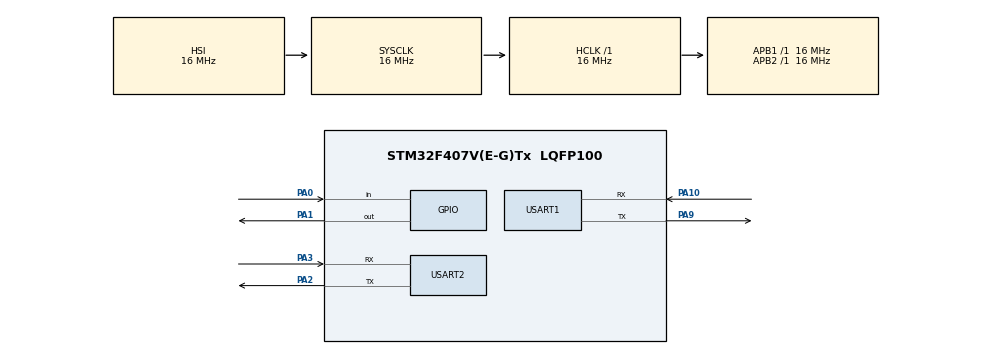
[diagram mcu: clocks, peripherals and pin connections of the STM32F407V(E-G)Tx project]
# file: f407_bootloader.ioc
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Mcu.Family=STM32F4
Mcu.Name=STM32F407V(E-G)Tx
Mcu.Package=LQFP100
NVIC.PriorityGroup=NVIC_PRIORITYGROUP_4
PA0-WKUP.GPIO_PuPd=GPIO_PULLDOWN
PA0-WKUP.Signal=GPIO_Input
PA1.PinState=GPIO_PIN_SET
PA1.Signal=GPIO_Output
PA10.Mode=Asynchronous
PA10.Signal=USART1_RX
PA13.Mode=Serial_Wire
PA13.Signal=SYS_JTMS-SWDIO
PA14.Mode=Serial_Wire
PA14.Signal=SYS_JTCK-SWCLK
PA2.Mode=Asynchronous
PA2.Signal=USART2_TX
PA3.Mode=Asynchronous
PA3.Signal=USART2_RX
PA9.Mode=Asynchronous
PA9.Signal=USART1_TX
ProjectManager.HeapSize=0x200
ProjectManager.StackSize=0x400
ProjectManager.TargetToolchain=STM32CubeIDE
RCC.48MHZClocksFreq_Value=42000000
RCC.AHBFreq_Value=16000000
RCC.APB1Freq_Value=16000000
RCC.APB1TimFreq_Value=16000000
RCC.APB2Freq_Value=16000000
RCC.APB2TimFreq_Value=16000000
RCC.CortexFreq_Value=16000000
RCC.HCLKFreq_Value=16000000
RCC.HSE_VALUE=25000000
RCC.HSI_VALUE=16000000
RCC.LSE_VALUE=32768
RCC.PLLN=168
RCC.SYSCLKFreq_VALUE=16000000
RCC.VCOOutputFreq_Value=168000000
USART1.VirtualMode=VM_ASYNC
USART2.VirtualMode=VM_ASYNC
VP_CRC_VS_CRC.Mode=CRC_Activate
board=custom

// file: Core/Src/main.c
/* USER CODE BEGIN Header */
// Demonstrating  bootloader project suitable for bootloader + application
// Flash Sector 0 and 1 allocated to bootloader (starting at 0x8000000, total 32kBytes)
// User application is loaded at start of Flash Sector 2 (0x08008000)
// 1. In user application project,
// a. Edit  STM32F407VGTX_FLASH.ld, and change FLASH ORIGIN to 0x8008000
// and reduce LENGTH by 32K to 992K
//
// MEMORY
// {
//   CCMRAM    (xrw)    : ORIGIN = 0x10000000,   LENGTH = 64K
//   RAM    (xrw)    : ORIGIN = 0x20000000,   LENGTH = 128K
//   FLASH    (rx)    : ORIGIN = 0x8008000,   LENGTH = 992K
// }
//
// b. Edit  system_stm32f4xx.c, set the vector table offset to 0x8000
//
// #define VECT_TAB_OFFSET  0x8000
//
// 2. Use STM32CubeProgrammer with STLink to erase all of flash
// 3. Use STM32CubeIDE to flash the user application project
// 4. Verify with STM32CubeProgrammer that addresses below 0x8008000 are still erased
// 5. Use STM32CubeIDE to flash this bootloader project
//
/* USER CODE END Header */

#include "main.h"

CRC_HandleTypeDef hcrc;

UART_HandleTypeDef huart1;
UART_HandleTypeDef huart2;

void SystemClock_Config(void);
static void MX_GPIO_Init(void);
static void MX_USART1_UART_Init(void);
static void MX_USART2_UART_Init(void);
static void MX_CRC_Init(void);

/* USER CODE BEGIN 0 */

// version 1.0 encoded as 0x10

#define BLDR_VERSION 0x10

// user application starts at Sector 2, sector 0 and 1 are 16kBytes each
#define FLASH_SECTOR2_BASE_ADDRESS 0x08008000

#define DBG_UART 	huart1
#define BLDR_UART 	huart2

#define BLDR_FAILURE 0
#define BLDR_SUCCESS 1

#define BLDR_ACK 	0xA5
#define BLDR_NACK	0x7F

#define BL_GET_VER 				0x51
#define BL_GET_HELP				0x52
#define BL_GET_CID				0x53
#define BL_GET_RDP_STATUS		0x54
#define BL_GOTO_ADDR			0x55
#define BL_FLASH_ERASE			0x56
#define BL_MEM_WRITE			0x57
#define BL_EN_RW_PROTECT		0x58
#define BL_MEM_READ				0x59
#define BL_READ_SECTOR_PSTATUS	0x5A
#define BL_OTP_READ			 	0x5B
#define BL_DISABLE_RWPROTECT	0x5C

#define ADDR_VALID 			0x00
#define ADDR_INVALID 		0x01

#define INVALID_SECTOR 		0x04

// STM32F407VGT6
// note 64K of CCM RAM is only for data, so we can't jump there
#define SRAM1_SIZE          112*1024
#define SRAM1_END           (SRAM1_BASE + SRAM1_SIZE)
#define SRAM2_SIZE          16*1024
#define SRAM2_END           (SRAM2_BASE + SRAM2_SIZE)
#define FLASH_SIZE          1024*1024
#define BKPSRAM_SIZE        4*1024
#define BKPSRAM_END         (BKPSRAM_BASE + BKPSRAM_SIZE)

void bldr_CmdGetVersion(uint8_t* pBuf);
void bldr_CmdGetHelp(uint8_t* pBuf);
void bldr_CmdGetCID(uint8_t* pBuf);
void bldr_CmdGetRDPStatus(uint8_t* pBuf);
void bldr_CmdGotoAddress(uint8_t* pBuf);
void bldr_CmdFlashErase(uint8_t* pBuf);
void bldr_CmdMemWrite(uint8_t* pBuf);
void bldr_CmdMemRead(uint8_t* pBuf);
void bldr_CmdReadSectorPStatus(uint8_t* pBuf);
void bldr_CmdEnRWProtect(uint8_t* pBuf);
void bldr_CmdReadOTP(uint8_t* pBuf);
void bldr_CmdDisableRWProtect(uint8_t* pBuf);

void bldr_SendACK(uint8_t cmd, uint8_t followLength);
void bldr_SendNACK(void);
int  bldr_CheckCRC(uint8_t* pBuf, uint32_t numBytes, uint32_t crcHost);
void bldr_UartWriteData(uint8_t* pBuf, int numBytes);
uint8_t bldr_VerifyAddress(uint32_t go_address);
uint8_t bldr_FlashEraseSectors(uint8_t sectorIndex , uint8_t numSectors);
uint8_t bldr_MemWrite(uint8_t *pBuffer, uint32_t address, uint32_t length);
uint16_t bldr_ReadOBRWProtectionStatus(void);
uint8_t bldr_ConfigureSectorRWProtection(uint8_t sectorDetails, uint8_t protectionMode, uint8_t disable);

void bldr_HandleCommand(void);
void bldr_JumpUserApp(uint32_t address);

void printMsg(char* format, ...) {
	char sz[100];
	va_list args;
	va_start(args, format);
	vsprintf(sz, format, args);
	HAL_UART_Transmit(&DBG_UART, (uint8_t *)sz, strlen(sz), HAL_MAX_DELAY);
	va_end(args);
	}

uint8_t BldrRxBuffer[200];

uint8_t BldrSupportedCommands[] = {
BL_GET_VER,
BL_GET_HELP,
BL_GET_CID,
BL_GET_RDP_STATUS,
BL_GOTO_ADDR,
BL_FLASH_ERASE,
BL_MEM_WRITE,
BL_EN_RW_PROTECT,
BL_MEM_READ,
BL_READ_SECTOR_PSTATUS,
BL_OTP_READ,
BL_DISABLE_RWPROTECT
};

/* USER CODE END 0 */

int main(void)
{

  /* MCU Configuration--------------------------------------------------------*/

  /* Reset of all peripherals, Initializes the Flash interface and the Systick. */
  HAL_Init();

  /* Configure the system clock */
  SystemClock_Config();

  /* Initialize all configured peripherals */
  MX_GPIO_Init();
  MX_USART1_UART_Init();
  MX_USART2_UART_Init();
  MX_CRC_Init();
  /* USER CODE BEGIN 2 */

  if (HAL_GPIO_ReadPin(GPIOA, GPIO_PIN_0) == GPIO_PIN_SET) {
	  printMsg("Bootloader button pressed\r\n");
	  bldr_HandleCommand();
  	  }
  else {
	  printMsg("Bootloader button not pressed\r\n");

	  // user app is loaded at start of sector 2
	  bldr_JumpUserApp(FLASH_SECTOR2_BASE_ADDRESS);
  	  }
  /* USER CODE END 2 */

  /* Infinite loop */
  while (1)
  {

    /* USER CODE BEGIN 3 */
	  printMsg("hello from uart1\r\n");
	  HAL_Delay(1000);
  }
  /* USER CODE END 3 */
}

void SystemClock_Config(void)
{
  RCC_OscInitTypeDef RCC_OscInitStruct = {0};
  RCC_ClkInitTypeDef RCC_ClkInitStruct = {0};

  /** Configure the main internal regulator output voltage
  */
  __HAL_RCC_PWR_CLK_ENABLE();
  __HAL_PWR_VOLTAGESCALING_CONFIG(PWR_REGULATOR_VOLTAGE_SCALE1);
  /** Initializes the CPU, AHB and APB busses clocks
  */
  RCC_OscInitStruct.OscillatorType = RCC_OSCILLATORTYPE_HSI;
  RCC_OscInitStruct.HSIState = RCC_HSI_ON;
  RCC_OscInitStruct.HSICalibrationValue = RCC_HSICALIBRATION_DEFAULT;
  RCC_OscInitStruct.PLL.PLLState = RCC_PLL_NONE;
  if (HAL_RCC_OscConfig(&RCC_OscInitStruct) != HAL_OK)
  {
    Error_Handler();
  }
  /** Initializes the CPU, AHB and APB busses clocks
  */
  RCC_ClkInitStruct.ClockType = RCC_CLOCKTYPE_HCLK|RCC_CLOCKTYPE_SYSCLK
                              |RCC_CLOCKTYPE_PCLK1|RCC_CLOCKTYPE_PCLK2;
  RCC_ClkInitStruct.SYSCLKSource = RCC_SYSCLKSOURCE_HSI;
  RCC_ClkInitStruct.AHBCLKDivider = RCC_SYSCLK_DIV1;
  RCC_ClkInitStruct.APB1CLKDivider = RCC_HCLK_DIV1;
  RCC_ClkInitStruct.APB2CLKDivider = RCC_HCLK_DIV1;

  if (HAL_RCC_ClockConfig(&RCC_ClkInitStruct, FLASH_LATENCY_0) != HAL_OK)
  {
    Error_Handler();
  }
}

static void MX_CRC_Init(void)
{

  hcrc.Instance = CRC;
  if (HAL_CRC_Init(&hcrc) != HAL_OK)
  {
    Error_Handler();
  }

}

static void MX_USART1_UART_Init(void)
{

  huart1.Instance = USART1;
  huart1.Init.BaudRate = 115200;
  huart1.Init.WordLength = UART_WORDLENGTH_8B;
  huart1.Init.StopBits = UART_STOPBITS_1;
  huart1.Init.Parity = UART_PARITY_NONE;
  huart1.Init.Mode = UART_MODE_TX_RX;
  huart1.Init.HwFlowCtl = UART_HWCONTROL_NONE;
  huart1.Init.OverSampling = UART_OVERSAMPLING_16;
  if (HAL_UART_Init(&huart1) != HAL_OK)
  {
    Error_Handler();
  }

}

static void MX_USART2_UART_Init(void)
{

  huart2.Instance = USART2;
  huart2.Init.BaudRate = 115200;
  huart2.Init.WordLength = UART_WORDLENGTH_8B;
  huart2.Init.StopBits = UART_STOPBITS_1;
  huart2.Init.Parity = UART_PARITY_NONE;
  huart2.Init.Mode = UART_MODE_TX_RX;
  huart2.Init.HwFlowCtl = UART_HWCONTROL_NONE;
  huart2.Init.OverSampling = UART_OVERSAMPLING_16;
  if (HAL_UART_Init(&huart2) != HAL_OK)
  {
    Error_Handler();
  }

}

static void MX_GPIO_Init(void)
{
  GPIO_InitTypeDef GPIO_InitStruct = {0};

  /* GPIO Ports Clock Enable */
  __HAL_RCC_GPIOA_CLK_ENABLE();

  /*Configure GPIO pin Output Level */
  HAL_GPIO_WritePin(GPIOA, GPIO_PIN_1, GPIO_PIN_SET);

  /*Configure GPIO pin : PA0 */
  GPIO_InitStruct.Pin = GPIO_PIN_0;
  GPIO_InitStruct.Mode = GPIO_MODE_INPUT;
  GPIO_InitStruct.Pull = GPIO_PULLDOWN;
  HAL_GPIO_Init(GPIOA, &GPIO_InitStruct);

  /*Configure GPIO pin : PA1 */
  GPIO_InitStruct.Pin = GPIO_PIN_1;
  GPIO_InitStruct.Mode = GPIO_MODE_OUTPUT_PP;
  GPIO_InitStruct.Pull = GPIO_NOPULL;
  GPIO_InitStruct.Speed = GPIO_SPEED_FREQ_LOW;
  HAL_GPIO_Init(GPIOA, &GPIO_InitStruct);

}

/* USER CODE BEGIN 4 */

void bldr_HandleCommand(void){
	uint8_t rcvLength = 0;
	while (1) {
		memset(BldrRxBuffer, 0, 200);
		// read and decode the host commands
		HAL_UART_Receive(&BLDR_UART, BldrRxBuffer, 1, HAL_MAX_DELAY);
		rcvLength = BldrRxBuffer[0];
		HAL_UART_Receive(&BLDR_UART, &BldrRxBuffer[1], rcvLength, HAL_MAX_DELAY);
		switch (BldrRxBuffer[1]){
		case BL_GET_VER:
			bldr_CmdGetVersion(BldrRxBuffer);
			break;
		case BL_GET_HELP:
			bldr_CmdGetHelp(BldrRxBuffer);
			break;
		case BL_GET_CID:
			bldr_CmdGetCID(BldrRxBuffer);
			break;
		case BL_GET_RDP_STATUS:
			bldr_CmdGetRDPStatus(BldrRxBuffer);
			break;
		case BL_GOTO_ADDR:
			bldr_CmdGotoAddress(BldrRxBuffer);
			break;
		case BL_FLASH_ERASE:
			bldr_CmdFlashErase(BldrRxBuffer);
			break;
		case BL_MEM_WRITE:
			bldr_CmdMemWrite(BldrRxBuffer);
			break;
		case BL_EN_RW_PROTECT:
			bldr_CmdEnRWProtect(BldrRxBuffer);
			break;
		case BL_MEM_READ:
			bldr_CmdMemRead(BldrRxBuffer);
			break;
		case BL_READ_SECTOR_PSTATUS:
			bldr_CmdReadSectorPStatus(BldrRxBuffer);
			break;
		case BL_OTP_READ:
			bldr_CmdReadOTP(BldrRxBuffer);
			break;
		case BL_DISABLE_RWPROTECT:
			bldr_CmdDisableRWProtect(BldrRxBuffer);
			break;
		default :
			printMsg("BLDR : Invalid command received : RcvLen %d, CMD %#x\r\n", BldrRxBuffer[0],BldrRxBuffer[1]);
			break;
			}
		}
	}

void bldr_CmdFlashErase(uint8_t* pBuf){
	uint8_t eraseStatus = 0x00;
	printMsg("BLDR : FlashErase\r\n");
	uint32_t cmdLength = pBuf[0]+1;
	uint32_t crcHost = *((uint32_t*) (pBuf + cmdLength - 4));
	if (BLDR_SUCCESS == bldr_CheckCRC(&pBuf[0], cmdLength-4, crcHost)){
		printMsg("BLDR : CRC OK\r\n");
		bldr_SendACK(pBuf[0], 1);
        printMsg("BLDR : sectorIndex : %d  numSectors: %d\n", pBuf[2], pBuf[3]);
        HAL_GPIO_WritePin(GPIOA, GPIO_PIN_1, 0); // turn on onboard LED
        eraseStatus = bldr_FlashEraseSectors(pBuf[2] , pBuf[3]);
        HAL_GPIO_WritePin(GPIOA, GPIO_PIN_1, 1); // turn off onboard LED
        printMsg("BLDR: flash erase status: %#x\n", eraseStatus);
        bldr_UartWriteData(&eraseStatus,1);
		}
	else {
		printMsg("BLDR : CRC error\r\n");
		bldr_SendNACK();
		}
	}

void bldr_CmdMemWrite(uint8_t* pBuf){
	uint8_t writeStatus = 0x00;
	uint8_t payloadLength = pBuf[6];
	uint32_t address = *((uint32_t *) ( &pBuf[2]) );

	printMsg("BLDR : MemWrite\r\n");
	uint32_t cmdLength = pBuf[0]+1;
	uint32_t crcHost = *((uint32_t*) (pBuf + cmdLength - 4));
	if (BLDR_SUCCESS == bldr_CheckCRC(&pBuf[0], cmdLength-4, crcHost)){
		printMsg("BLDR : CRC OK\r\n");
		bldr_SendACK(pBuf[0], 1);
		printMsg("BLDR : address %#x\r\n", address);
		if (bldr_VerifyAddress(address) == ADDR_VALID){
			printMsg("BLDR : valid address\r\n");
			HAL_GPIO_WritePin(GPIOA, GPIO_PIN_1, 0); // turn on LED
			writeStatus = bldr_MemWrite(&pBuf[7], address, payloadLength);
			HAL_GPIO_WritePin(GPIOA, GPIO_PIN_1, 1); // turn off LED
			}
		else {
			printMsg("BLDR : invalid address\r\n");
			writeStatus = ADDR_INVALID;
			}
		bldr_UartWriteData(&writeStatus, 1);
		}
	else {
		printMsg("BLDR : CRC error\r\n");
		bldr_SendNACK();
		}
	}

void bldr_CmdMemRead(uint8_t* pBuf){
	printMsg("BLDR : MemRead\r\n");
	uint32_t cmdLength = pBuf[0]+1;
	uint32_t crcHost = *((uint32_t*) (pBuf + cmdLength - 4));
	if (BLDR_SUCCESS == bldr_CheckCRC(&pBuf[0], cmdLength-4, crcHost)){
		printMsg("BLDR : CRC OK\r\n");
		bldr_SendACK(pBuf[0], 1);

		}
	else {
		printMsg("BLDR : CRC error\r\n");
		bldr_SendNACK();
		}
	}

void bldr_CmdReadSectorPStatus(uint8_t* pBuf){
	uint16_t status;
	printMsg("BLDR : ReadSectorPStatus\r\n");
	uint32_t cmdLength = pBuf[0]+1;
	uint32_t crcHost = *((uint32_t*) (pBuf + cmdLength - 4));
	if (BLDR_SUCCESS == bldr_CheckCRC(&pBuf[0], cmdLength-4, crcHost)){
		printMsg("BLDR : CRC OK\r\n");
		bldr_SendACK(pBuf[0], 2);
		status = bldr_ReadOBRWProtectionStatus();
		printMsg("BLDR : nWRP status %#x\r\n", status);
		bldr_UartWriteData((uint8_t*)&status, 2);
		}
	else {
		printMsg("BLDR : CRC error\r\n");
		bldr_SendNACK();
		}
	}

void bldr_CmdGetVersion(uint8_t* pBuf){
	uint8_t version;
	printMsg("BLDR : GetVersion\r\n");
	uint32_t cmdLength = pBuf[0]+1;
	uint32_t crcHost = *((uint32_t*) (pBuf + cmdLength - 4));
	if (BLDR_SUCCESS == bldr_CheckCRC(&pBuf[0], cmdLength-4, crcHost)){
		printMsg("BLDR : CRC OK\r\n");
		bldr_SendACK(pBuf[0], 1);
		version = (uint8_t) BLDR_VERSION;
		printMsg("BLDR : Version %#x\r\n", version);
		bldr_UartWriteData(&version, 1);
		}
	else {
		printMsg("BLDR : CRC error\r\n");
		bldr_SendNACK();
		}
	}

void bldr_CmdGetHelp(uint8_t* pBuf){
	printMsg("BLDR : GetHelp\r\n");
	uint32_t cmdLength = pBuf[0]+1;
	uint32_t crcHost = *((uint32_t*) (pBuf + cmdLength - 4));
	if (BLDR_SUCCESS == bldr_CheckCRC(&pBuf[0], cmdLength-4, crcHost)){
		printMsg("BLDR : CRC OK\r\n");
		bldr_SendACK(pBuf[0], sizeof(BldrSupportedCommands));
		bldr_UartWriteData(BldrSupportedCommands, sizeof(BldrSupportedCommands));
		}
	else {
		printMsg("BLDR : CRC error\r\n");
		bldr_SendNACK();
		}
	}

void bldr_CmdGetCID(uint8_t* pBuf){
	printMsg("BLDR : GetCID\r\n");
	uint32_t cmdLength = pBuf[0]+1;
	uint32_t crcHost = *((uint32_t*) (pBuf + cmdLength - 4));
	if (BLDR_SUCCESS == bldr_CheckCRC(&pBuf[0], cmdLength-4, crcHost)){
		printMsg("BLDR : CRC OK\r\n");
		bldr_SendACK(pBuf[0], 2);
		// die revision and part #, bits 11:0 are part#, 0x413 for STM32F407VGT6
		uint16_t cid = (uint16_t)(DBGMCU->IDCODE) & 0x0FFF;
		printMsg("BLDR : CID %#x\r\n", cid);
		bldr_UartWriteData((uint8_t*)&cid, 2);
		}
	else {
		printMsg("BLDR : CRC error\r\n");
		bldr_SendNACK();
		}
	}

// 16 option bytes
// 0x1FFFC000, bits 15:8 RDP field = read protection for flash memory
// 0xAA : level 0, no protection
// 0xCC : level 2, chip protection. Boot from RAM/system ROM bootloader disabled.
// 			JTAG/SWD and all debug features disabled, user option bytes cannot be changed.
//          Application booting from flash can access flash (read/write/erase)
//          *** This is irreversible ****
// others : Level 1, No access (read, erase or program) of flash memory, while
// debug feature is connected, or while booting from RAM or system ROM bootloader.
// when booting from flash memory, application code can access flash
// If Level 1 is active and level 0 is requested, mass chip erase is performed.

void bldr_CmdGetRDPStatus(uint8_t* pBuf){
	printMsg("BLDR : GetRDPStatus\r\n");
	uint32_t cmdLength = pBuf[0]+1;
	uint32_t crcHost = *((uint32_t*) (pBuf + cmdLength - 4));
	if (BLDR_SUCCESS == bldr_CheckCRC(&pBuf[0], cmdLength-4, crcHost)){
		printMsg("BLDR : CRC OK\r\n");
		bldr_SendACK(pBuf[0], 1);
		FLASH_OBProgramInitTypeDef obHandle;
		HAL_FLASHEx_OBGetConfig(&obHandle);
		uint8_t rdp = (uint8_t)obHandle.RDPLevel;
		//volatile uint32_t* pOptBytes = (volatile uint32_t*)0x1FFFC000;
		//uint8_t rdp = (uint8_t) ((*pOptBytes) >> 8);
		bldr_UartWriteData(&rdp, 1);
		}
	else {
		printMsg("BLDR : CRC error\r\n");
		bldr_SendNACK();
		}
	}

// to test jumping to a valid address, browse the memory starting at 0x08008000
// assuming we've already programmed the user application there,
// the first word is the MSP, second is the application reset handler address
// e.g. 0x080088BD. Enter this at the host application goto address prompt

void bldr_CmdGotoAddress(uint8_t* pBuf){
    uint32_t address = 0;
    uint8_t flag;

	printMsg("BLDR : GotoAddress\r\n");
	uint32_t cmdLength = pBuf[0]+1;
	uint32_t crcHost = *((uint32_t*) (pBuf + cmdLength - 4));
	if (BLDR_SUCCESS == bldr_CheckCRC(&pBuf[0], cmdLength-4, crcHost)){
		printMsg("BLDR : CRC OK\r\n");
		bldr_SendACK(pBuf[0], 1);
        address = *((uint32_t *)&pBuf[2] );
        printMsg("BLDR : Goto address %#x\r\n", address);
        if( bldr_VerifyAddress(address) == ADDR_VALID ){
             // tell host that address is fine
        	 flag = ADDR_VALID;
             bldr_UartWriteData(&flag, 1);
#if 0
             // host must ensure that valid code is present at goto address
             // ensure address is a Thumb instruction address
             address |= 1;
             void (*jump)(void) = (void *)address;
             printMsg("BLDR : jumping to go address\r\n");
             jump();
#else
             bldr_JumpUserApp(address);
#endif
 			}
        else{
             printMsg("BLDR : Goto address invalid\r\n");
             flag = ADDR_INVALID;
             bldr_UartWriteData(&flag, 1);
 			}
		}
	else {
		printMsg("BLDR : CRC error\r\n");
		bldr_SendNACK();
		}
	}

void bldr_CmdEnRWProtect(uint8_t* pBuf){
	uint8_t status = 0;
	printMsg("BLDR : EndRWProtect\r\n");
	uint32_t cmdLength = pBuf[0]+1;
	uint32_t crcHost = *((uint32_t*) (pBuf + cmdLength - 4));
	if (BLDR_SUCCESS == bldr_CheckCRC(&pBuf[0], cmdLength-4, crcHost)){
		printMsg("BLDR : CRC OK\r\n");
		bldr_SendACK(pBuf[0], 1);
		status = bldr_ConfigureSectorRWProtection(pBuf[2], pBuf[3], 0);
		bldr_UartWriteData(&status, 1);
		}
	else {
		printMsg("BLDR : CRC error\r\n");
		bldr_SendNACK();
		}
	}

void bldr_CmdReadOTP(uint8_t* pBuf){
	printMsg("BLDR : ReadOTP\r\n");
	uint32_t cmdLength = pBuf[0]+1;
	uint32_t crcHost = *((uint32_t*) (pBuf + cmdLength - 4));
	if (BLDR_SUCCESS == bldr_CheckCRC(&pBuf[0], cmdLength-4, crcHost)){
		printMsg("BLDR : CRC OK\r\n");
		bldr_SendACK(pBuf[0], 1);

		}
	else {
		printMsg("BLDR : CRC error\r\n");
		bldr_SendNACK();
		}
	}

void bldr_CmdDisableRWProtect(uint8_t* pBuf){
	uint8_t status = 0;
	printMsg("BLDR : DisableRWProtect\r\n");
	uint32_t cmdLength = pBuf[0]+1;
	uint32_t crcHost = *((uint32_t*) (pBuf + cmdLength - 4));
	if (BLDR_SUCCESS == bldr_CheckCRC(&pBuf[0], cmdLength-4, crcHost)){
		printMsg("BLDR : CRC OK\r\n");
		bldr_SendACK(pBuf[0], 1);
		status = bldr_ConfigureSectorRWProtection(0,0,1);
		printMsg("BLDR : config RW Protect status %#x\r\n", status);
		bldr_UartWriteData(&status, 1);
		}
	else {
		printMsg("BLDR : CRC error\r\n");
		bldr_SendNACK();
		}
	}

void bldr_JumpUserApp(uint32_t address){
	// pointer to hold the address of the reset handler for the user application
	void (*appResetHandler)(void);
	printMsg("BLDR : jump to user application\r\n");

	// first word at address has the user application programmed MSP
	uint32_t msp_val = *((volatile uint32_t*) address);
	printMsg("BLDR : MSP Sector 2 value = %#x\r\n", msp_val);
	// CMSIS macro
	__set_MSP(msp_val);

	// second word has the user application Reset_Handler address
	uint32_t resetHandlerAddress = *(volatile uint32_t*)(address+4);
	appResetHandler = (void*)resetHandlerAddress;
	printMsg("User application reset handler address = %#x\r\n", resetHandlerAddress);

	// jump to user application reset handler
	appResetHandler();
	}

uint8_t bldr_VerifyAddress(uint32_t go_address){
	// system memory ? yes
	// sram1 memory ?  yes
	// sram2 memory ? yes
	// backup sram memory ? yes
	// peripheral memory ? possible, but no
	// external memory ? yes.

	if ( go_address >= SRAM1_BASE && go_address <= SRAM1_END){
		return ADDR_VALID;
		}
	else if ( go_address >= SRAM2_BASE && go_address <= SRAM2_END){
		return ADDR_VALID;
		}
	else if ( go_address >= FLASH_BASE && go_address <= FLASH_END)	{
		return ADDR_VALID;
		}
	else if ( go_address >= BKPSRAM_BASE && go_address <= BKPSRAM_END)	{
		return ADDR_VALID;
		}
	else
		return ADDR_INVALID;
	}

uint8_t bldr_FlashEraseSectors(uint8_t sectorIndex , uint8_t numSectors){
    // STM32F407 has 8 flash sectors
	// numSectors has to be in the range of 0 to 7
	// if sectorIndex = 0xff , do mass erase
	FLASH_EraseInitTypeDef hFlashErase;
	uint32_t sectorError;
	HAL_StatusTypeDef status;

	if( numSectors > 8 ){
		return INVALID_SECTOR;
		}

	if( (sectorIndex == 0xff ) || (sectorIndex <= 7) )	{
		if(sectorIndex == (uint8_t) 0xff)		{
			hFlashErase.TypeErase = FLASH_TYPEERASE_MASSERASE;
			}
		else{
		    // limit the number of sectors to be erased
			uint8_t remainingSectors = 8 - sectorIndex;
            if( numSectors > remainingSectors) {
            	numSectors = remainingSectors;
            	}
            hFlashErase.TypeErase = FLASH_TYPEERASE_SECTORS;
            hFlashErase.Sector = sectorIndex; // start sector
            hFlashErase.NbSectors = numSectors;
			}
		hFlashErase.Banks = FLASH_BANK_1;
		HAL_FLASH_Unlock();
		hFlashErase.VoltageRange = FLASH_VOLTAGE_RANGE_3;  // 2.7v- 3.6v
		status = (uint8_t) HAL_FLASHEx_Erase(&hFlashErase, &sectorError);
		HAL_FLASH_Lock();
		return status;
		}
	return INVALID_SECTOR;
	}

// This function writes the contents of pBuf to  "address"
uint8_t bldr_MemWrite(uint8_t *pBuf, uint32_t address, uint32_t length){
    uint8_t status;
    if (address >= FLASH_BASE && address <= FLASH_END) {
    	HAL_FLASH_Unlock();
    	for(uint32_t inx = 0 ; inx < length ; inx++)    {
    		status = HAL_FLASH_Program(FLASH_TYPEPROGRAM_BYTE, address+inx, pBuf[inx] );
    		}
    	HAL_FLASH_Lock();
    	}
    else {
    	volatile uint8_t* ramAddress = (uint8_t*) address;
    	while (length--){
    		*ramAddress++ = *pBuf++;
    		}
    	status = HAL_OK;
    	}
    return status;
	}

// sector details : sector numbers are bit position, 1 = protection, 0 = no protection
// protection mode : 1 = write protection (note : read protection is not available on STM32F407)

uint8_t bldr_ConfigureSectorRWProtection(uint8_t sectorDetails, uint8_t protectionMode, uint8_t disable){
	if ( disable )	{
		HAL_FLASH_OB_Unlock();
		while(__HAL_FLASH_GET_FLAG(FLASH_FLAG_BSY) != RESET);
		// clear the write protection for all sectors
		FLASH->OPTCR |= (0xFF << 16);
		//Set the option start bit (OPTSTRT)
		FLASH->OPTCR |= ( 1 << 1);
		while(__HAL_FLASH_GET_FLAG(FLASH_FLAG_BSY) != RESET);
		HAL_FLASH_OB_Lock();
		return 0;
		}

	if(protectionMode > 0)  {
	   // write protect the sectors encoded in sectorDetails
		HAL_FLASH_OB_Unlock();
		while(__HAL_FLASH_GET_FLAG(FLASH_FLAG_BSY) != RESET);
		// write protection is active low, so invert the sectorDetails byte
		FLASH->OPTCR &= ~ (((uint32_t)sectorDetails) << 16);
		//Set the option start bit (OPTSTRT)
		FLASH->OPTCR |= ( 1 << 1);
		while(__HAL_FLASH_GET_FLAG(FLASH_FLAG_BSY) != RESET);
		HAL_FLASH_OB_Lock();
		}
	return 0;
	}

uint16_t bldr_ReadOBRWProtectionStatus(void){
	FLASH_OBProgramInitTypeDef OBInit;
	HAL_FLASH_OB_Unlock();
	HAL_FLASHEx_OBGetConfig(&OBInit);
	HAL_FLASH_Lock();
	return (uint16_t)OBInit.WRPSector;
	}

void bldr_UartWriteData(uint8_t* pBuf, int numBytes){
	HAL_UART_Transmit(&BLDR_UART, pBuf, numBytes, HAL_MAX_DELAY);
	}

int bldr_CheckCRC(uint8_t* pBuf, uint32_t numBytes, uint32_t crcHost){
	uint32_t uwCRCValue = 0xFFFFFFFF;
	for (uint32_t inx = 0; inx < numBytes; inx++) {
		uint32_t udata = (uint32_t) pBuf[inx];
		uwCRCValue = HAL_CRC_Accumulate(&hcrc, &udata, 1);
		}
	__HAL_CRC_DR_RESET(&hcrc);
	return (uwCRCValue == crcHost) ?  BLDR_SUCCESS : BLDR_FAILURE;
	}

void bldr_SendACK(uint8_t cmd, uint8_t followLength) {
	uint8_t ack[2];
	ack[0] = BLDR_ACK;
	ack[1] = followLength;
	HAL_UART_Transmit(&BLDR_UART, ack, 2, HAL_MAX_DELAY);
	}

void bldr_SendNACK(void) {
	uint8_t nack = BLDR_NACK;
	HAL_UART_Transmit(&BLDR_UART, &nack, 1, HAL_MAX_DELAY);
	}

/* USER CODE END 4 */

void Error_Handler(void)
{
  /* USER CODE BEGIN Error_Handler_Debug */
  /* User can add his own implementation to report the HAL error return state */
	int counter = 0;
	while (1) {
		HAL_GPIO_TogglePin(GPIOA, GPIO_PIN_1);
		while (counter < 0x3FFFF) {counter++;}
		counter = 0;
		}
  /* USER CODE END Error_Handler_Debug */
}

/************************ (C) COPYRIGHT STMicroelectronics *****END OF FILE****/
